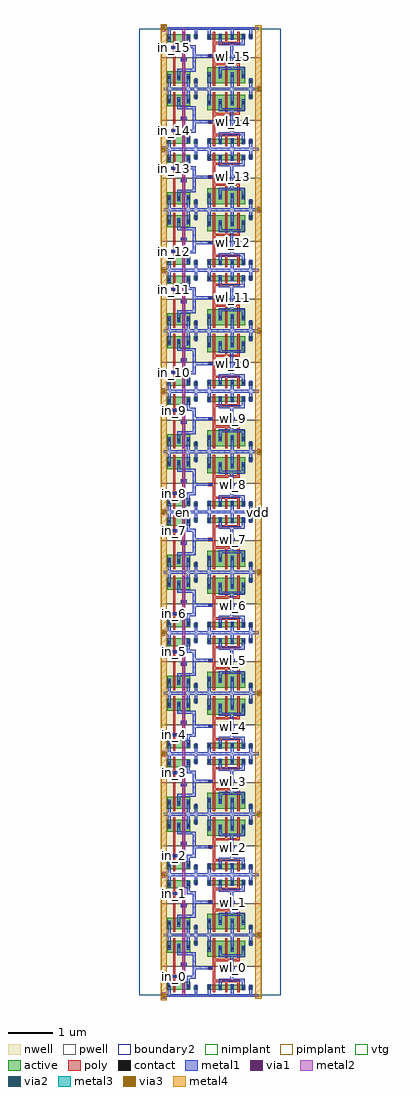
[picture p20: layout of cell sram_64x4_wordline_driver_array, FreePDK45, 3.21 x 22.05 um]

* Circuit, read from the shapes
.subckt sram_64x4_wordline_driver_array en gnd in_0 in_1 in_10 in_11 in_12 in_13 in_14 in_15 in_2 in_3 in_4 in_5 in_6 in_7 in_8 in_9 vdd wl_0 wl_1 wl_10 wl_11 wl_12 wl_13 wl_14 wl_15 wl_2 wl_3 wl_4 wl_5 wl_6 wl_7 wl_8 wl_9
M1 sram_64x4_wordline_driver_0/sram_64x4_pnand2_0/sram_64x4_nmos_m1_w0_180_sm1_dactive_2/D in_0 gnd gnd nfet w=0.18u l=0.05u
M2 sram_64x4_wordline_driver_1/sram_64x4_pnand2_0/sram_64x4_nmos_m1_w0_180_sm1_dactive_2/D in_1 gnd gnd nfet w=0.18u l=0.05u
M3 sram_64x4_wordline_driver_2/sram_64x4_pnand2_0/sram_64x4_nmos_m1_w0_180_sm1_dactive_2/D in_2 gnd gnd nfet w=0.18u l=0.05u
M4 sram_64x4_wordline_driver_3/sram_64x4_pnand2_0/sram_64x4_nmos_m1_w0_180_sm1_dactive_2/D in_3 gnd gnd nfet w=0.18u l=0.05u
M5 sram_64x4_wordline_driver_4/sram_64x4_pnand2_0/sram_64x4_nmos_m1_w0_180_sm1_dactive_2/D in_4 gnd gnd nfet w=0.18u l=0.05u
M6 sram_64x4_wordline_driver_5/sram_64x4_pnand2_0/sram_64x4_nmos_m1_w0_180_sm1_dactive_2/D in_5 gnd gnd nfet w=0.18u l=0.05u
M7 sram_64x4_wordline_driver_6/sram_64x4_pnand2_0/sram_64x4_nmos_m1_w0_180_sm1_dactive_2/D in_6 gnd gnd nfet w=0.18u l=0.05u
M8 sram_64x4_wordline_driver_7/sram_64x4_pnand2_0/sram_64x4_nmos_m1_w0_180_sm1_dactive_2/D in_7 gnd gnd nfet w=0.18u l=0.05u
M9 sram_64x4_wordline_driver_8/sram_64x4_pnand2_0/sram_64x4_nmos_m1_w0_180_sm1_dactive_2/D in_8 gnd gnd nfet w=0.18u l=0.05u
M10 sram_64x4_wordline_driver_9/sram_64x4_pnand2_0/sram_64x4_nmos_m1_w0_180_sm1_dactive_2/D in_9 gnd gnd nfet w=0.18u l=0.05u
M11 sram_64x4_wordline_driver_10/sram_64x4_pnand2_0/sram_64x4_nmos_m1_w0_180_sm1_dactive_2/D in_10 gnd gnd nfet w=0.18u l=0.05u
M12 sram_64x4_wordline_driver_11/sram_64x4_pnand2_0/sram_64x4_nmos_m1_w0_180_sm1_dactive_2/D in_11 gnd gnd nfet w=0.18u l=0.05u
M13 sram_64x4_wordline_driver_12/sram_64x4_pnand2_0/sram_64x4_nmos_m1_w0_180_sm1_dactive_2/D in_12 gnd gnd nfet w=0.18u l=0.05u
M14 sram_64x4_wordline_driver_13/sram_64x4_pnand2_0/sram_64x4_nmos_m1_w0_180_sm1_dactive_2/D in_13 gnd gnd nfet w=0.18u l=0.05u
M15 sram_64x4_wordline_driver_14/sram_64x4_pnand2_0/sram_64x4_nmos_m1_w0_180_sm1_dactive_2/D in_14 gnd gnd nfet w=0.18u l=0.05u
M16 sram_64x4_wordline_driver_15/sram_64x4_pnand2_0/sram_64x4_nmos_m1_w0_180_sm1_dactive_2/D in_15 gnd gnd nfet w=0.18u l=0.05u
M17 sram_64x4_wordline_driver_0/sram_64x4_pinv_0_1/A en sram_64x4_wordline_driver_0/sram_64x4_pnand2_0/sram_64x4_nmos_m1_w0_180_sm1_dactive_2/D gnd nfet w=0.18u l=0.05u
M18 sram_64x4_wordline_driver_1/sram_64x4_pinv_0_1/A en sram_64x4_wordline_driver_1/sram_64x4_pnand2_0/sram_64x4_nmos_m1_w0_180_sm1_dactive_2/D gnd nfet w=0.18u l=0.05u
M19 sram_64x4_wordline_driver_2/sram_64x4_pinv_0_1/A en sram_64x4_wordline_driver_2/sram_64x4_pnand2_0/sram_64x4_nmos_m1_w0_180_sm1_dactive_2/D gnd nfet w=0.18u l=0.05u
M20 sram_64x4_wordline_driver_3/sram_64x4_pinv_0_1/A en sram_64x4_wordline_driver_3/sram_64x4_pnand2_0/sram_64x4_nmos_m1_w0_180_sm1_dactive_2/D gnd nfet w=0.18u l=0.05u
M21 sram_64x4_wordline_driver_4/sram_64x4_pinv_0_1/A en sram_64x4_wordline_driver_4/sram_64x4_pnand2_0/sram_64x4_nmos_m1_w0_180_sm1_dactive_2/D gnd nfet w=0.18u l=0.05u
M22 sram_64x4_wordline_driver_5/sram_64x4_pinv_0_1/A en sram_64x4_wordline_driver_5/sram_64x4_pnand2_0/sram_64x4_nmos_m1_w0_180_sm1_dactive_2/D gnd nfet w=0.18u l=0.05u
M23 sram_64x4_wordline_driver_6/sram_64x4_pinv_0_1/A en sram_64x4_wordline_driver_6/sram_64x4_pnand2_0/sram_64x4_nmos_m1_w0_180_sm1_dactive_2/D gnd nfet w=0.18u l=0.05u
M24 sram_64x4_wordline_driver_7/sram_64x4_pinv_0_1/A en sram_64x4_wordline_driver_7/sram_64x4_pnand2_0/sram_64x4_nmos_m1_w0_180_sm1_dactive_2/D gnd nfet w=0.18u l=0.05u
M25 sram_64x4_wordline_driver_8/sram_64x4_pinv_0_1/A en sram_64x4_wordline_driver_8/sram_64x4_pnand2_0/sram_64x4_nmos_m1_w0_180_sm1_dactive_2/D gnd nfet w=0.18u l=0.05u
M26 sram_64x4_wordline_driver_9/sram_64x4_pinv_0_1/A en sram_64x4_wordline_driver_9/sram_64x4_pnand2_0/sram_64x4_nmos_m1_w0_180_sm1_dactive_2/D gnd nfet w=0.18u l=0.05u
M27 sram_64x4_wordline_driver_10/sram_64x4_pinv_0_1/A en sram_64x4_wordline_driver_10/sram_64x4_pnand2_0/sram_64x4_nmos_m1_w0_180_sm1_dactive_2/D gnd nfet w=0.18u l=0.05u
M28 sram_64x4_wordline_driver_11/sram_64x4_pinv_0_1/A en sram_64x4_wordline_driver_11/sram_64x4_pnand2_0/sram_64x4_nmos_m1_w0_180_sm1_dactive_2/D gnd nfet w=0.18u l=0.05u
M29 sram_64x4_wordline_driver_12/sram_64x4_pinv_0_1/A en sram_64x4_wordline_driver_12/sram_64x4_pnand2_0/sram_64x4_nmos_m1_w0_180_sm1_dactive_2/D gnd nfet w=0.18u l=0.05u
M30 sram_64x4_wordline_driver_13/sram_64x4_pinv_0_1/A en sram_64x4_wordline_driver_13/sram_64x4_pnand2_0/sram_64x4_nmos_m1_w0_180_sm1_dactive_2/D gnd nfet w=0.18u l=0.05u
M31 sram_64x4_wordline_driver_14/sram_64x4_pinv_0_1/A en sram_64x4_wordline_driver_14/sram_64x4_pnand2_0/sram_64x4_nmos_m1_w0_180_sm1_dactive_2/D gnd nfet w=0.18u l=0.05u
M32 sram_64x4_wordline_driver_15/sram_64x4_pinv_0_1/A en sram_64x4_wordline_driver_15/sram_64x4_pnand2_0/sram_64x4_nmos_m1_w0_180_sm1_dactive_2/D gnd nfet w=0.18u l=0.05u
M33 wl_0 sram_64x4_wordline_driver_0/sram_64x4_pinv_0_1/A gnd gnd nfet w=0.12u l=0.05u m=3
M34 wl_1 sram_64x4_wordline_driver_1/sram_64x4_pinv_0_1/A gnd gnd nfet w=0.12u l=0.05u m=3
M35 wl_2 sram_64x4_wordline_driver_2/sram_64x4_pinv_0_1/A gnd gnd nfet w=0.12u l=0.05u m=3
M36 wl_3 sram_64x4_wordline_driver_3/sram_64x4_pinv_0_1/A gnd gnd nfet w=0.12u l=0.05u m=3
M37 wl_4 sram_64x4_wordline_driver_4/sram_64x4_pinv_0_1/A gnd gnd nfet w=0.12u l=0.05u m=3
M38 wl_5 sram_64x4_wordline_driver_5/sram_64x4_pinv_0_1/A gnd gnd nfet w=0.12u l=0.05u m=3
M39 wl_6 sram_64x4_wordline_driver_6/sram_64x4_pinv_0_1/A gnd gnd nfet w=0.12u l=0.05u m=3
M40 wl_7 sram_64x4_wordline_driver_7/sram_64x4_pinv_0_1/A gnd gnd nfet w=0.12u l=0.05u m=3
M41 wl_8 sram_64x4_wordline_driver_8/sram_64x4_pinv_0_1/A gnd gnd nfet w=0.12u l=0.05u m=3
M42 wl_9 sram_64x4_wordline_driver_9/sram_64x4_pinv_0_1/A gnd gnd nfet w=0.12u l=0.05u m=3
M43 wl_10 sram_64x4_wordline_driver_10/sram_64x4_pinv_0_1/A gnd gnd nfet w=0.12u l=0.05u m=3
M44 wl_11 sram_64x4_wordline_driver_11/sram_64x4_pinv_0_1/A gnd gnd nfet w=0.12u l=0.05u m=3
M45 wl_12 sram_64x4_wordline_driver_12/sram_64x4_pinv_0_1/A gnd gnd nfet w=0.12u l=0.05u m=3
M46 wl_13 sram_64x4_wordline_driver_13/sram_64x4_pinv_0_1/A gnd gnd nfet w=0.12u l=0.05u m=3
M47 wl_14 sram_64x4_wordline_driver_14/sram_64x4_pinv_0_1/A gnd gnd nfet w=0.12u l=0.05u m=3
M48 wl_15 sram_64x4_wordline_driver_15/sram_64x4_pinv_0_1/A gnd gnd nfet w=0.12u l=0.05u m=3
M49 sram_64x4_wordline_driver_0/sram_64x4_pinv_0_1/A in_0 vdd vdd pfet w=0.27u l=0.05u
M50 sram_64x4_wordline_driver_1/sram_64x4_pinv_0_1/A in_1 vdd vdd pfet w=0.27u l=0.05u
M51 sram_64x4_wordline_driver_2/sram_64x4_pinv_0_1/A in_2 vdd vdd pfet w=0.27u l=0.05u
M52 sram_64x4_wordline_driver_3/sram_64x4_pinv_0_1/A in_3 vdd vdd pfet w=0.27u l=0.05u
M53 sram_64x4_wordline_driver_4/sram_64x4_pinv_0_1/A in_4 vdd vdd pfet w=0.27u l=0.05u
M54 sram_64x4_wordline_driver_5/sram_64x4_pinv_0_1/A in_5 vdd vdd pfet w=0.27u l=0.05u
M55 sram_64x4_wordline_driver_6/sram_64x4_pinv_0_1/A in_6 vdd vdd pfet w=0.27u l=0.05u
M56 sram_64x4_wordline_driver_7/sram_64x4_pinv_0_1/A in_7 vdd vdd pfet w=0.27u l=0.05u
M57 sram_64x4_wordline_driver_8/sram_64x4_pinv_0_1/A in_8 vdd vdd pfet w=0.27u l=0.05u
M58 sram_64x4_wordline_driver_9/sram_64x4_pinv_0_1/A in_9 vdd vdd pfet w=0.27u l=0.05u
M59 sram_64x4_wordline_driver_10/sram_64x4_pinv_0_1/A in_10 vdd vdd pfet w=0.27u l=0.05u
M60 sram_64x4_wordline_driver_11/sram_64x4_pinv_0_1/A in_11 vdd vdd pfet w=0.27u l=0.05u
M61 sram_64x4_wordline_driver_12/sram_64x4_pinv_0_1/A in_12 vdd vdd pfet w=0.27u l=0.05u
M62 sram_64x4_wordline_driver_13/sram_64x4_pinv_0_1/A in_13 vdd vdd pfet w=0.27u l=0.05u
M63 sram_64x4_wordline_driver_14/sram_64x4_pinv_0_1/A in_14 vdd vdd pfet w=0.27u l=0.05u
M64 sram_64x4_wordline_driver_15/sram_64x4_pinv_0_1/A in_15 vdd vdd pfet w=0.27u l=0.05u
M65 vdd en sram_64x4_wordline_driver_0/sram_64x4_pinv_0_1/A vdd pfet w=0.27u l=0.05u
M66 vdd en sram_64x4_wordline_driver_1/sram_64x4_pinv_0_1/A vdd pfet w=0.27u l=0.05u
M67 vdd en sram_64x4_wordline_driver_2/sram_64x4_pinv_0_1/A vdd pfet w=0.27u l=0.05u
M68 vdd en sram_64x4_wordline_driver_3/sram_64x4_pinv_0_1/A vdd pfet w=0.27u l=0.05u
M69 vdd en sram_64x4_wordline_driver_4/sram_64x4_pinv_0_1/A vdd pfet w=0.27u l=0.05u
M70 vdd en sram_64x4_wordline_driver_5/sram_64x4_pinv_0_1/A vdd pfet w=0.27u l=0.05u
M71 vdd en sram_64x4_wordline_driver_6/sram_64x4_pinv_0_1/A vdd pfet w=0.27u l=0.05u
M72 vdd en sram_64x4_wordline_driver_7/sram_64x4_pinv_0_1/A vdd pfet w=0.27u l=0.05u
M73 vdd en sram_64x4_wordline_driver_8/sram_64x4_pinv_0_1/A vdd pfet w=0.27u l=0.05u
M74 vdd en sram_64x4_wordline_driver_9/sram_64x4_pinv_0_1/A vdd pfet w=0.27u l=0.05u
M75 vdd en sram_64x4_wordline_driver_10/sram_64x4_pinv_0_1/A vdd pfet w=0.27u l=0.05u
M76 vdd en sram_64x4_wordline_driver_11/sram_64x4_pinv_0_1/A vdd pfet w=0.27u l=0.05u
M77 vdd en sram_64x4_wordline_driver_12/sram_64x4_pinv_0_1/A vdd pfet w=0.27u l=0.05u
M78 vdd en sram_64x4_wordline_driver_13/sram_64x4_pinv_0_1/A vdd pfet w=0.27u l=0.05u
M79 vdd en sram_64x4_wordline_driver_14/sram_64x4_pinv_0_1/A vdd pfet w=0.27u l=0.05u
M80 vdd en sram_64x4_wordline_driver_15/sram_64x4_pinv_0_1/A vdd pfet w=0.27u l=0.05u
M81 wl_0 sram_64x4_wordline_driver_0/sram_64x4_pinv_0_1/A vdd vdd pfet w=0.36u l=0.05u m=3
M82 wl_1 sram_64x4_wordline_driver_1/sram_64x4_pinv_0_1/A vdd vdd pfet w=0.36u l=0.05u m=3
M83 wl_2 sram_64x4_wordline_driver_2/sram_64x4_pinv_0_1/A vdd vdd pfet w=0.36u l=0.05u m=3
M84 wl_3 sram_64x4_wordline_driver_3/sram_64x4_pinv_0_1/A vdd vdd pfet w=0.36u l=0.05u m=3
M85 wl_4 sram_64x4_wordline_driver_4/sram_64x4_pinv_0_1/A vdd vdd pfet w=0.36u l=0.05u m=3
M86 wl_5 sram_64x4_wordline_driver_5/sram_64x4_pinv_0_1/A vdd vdd pfet w=0.36u l=0.05u m=3
M87 wl_6 sram_64x4_wordline_driver_6/sram_64x4_pinv_0_1/A vdd vdd pfet w=0.36u l=0.05u m=3
M88 wl_7 sram_64x4_wordline_driver_7/sram_64x4_pinv_0_1/A vdd vdd pfet w=0.36u l=0.05u m=3
M89 wl_8 sram_64x4_wordline_driver_8/sram_64x4_pinv_0_1/A vdd vdd pfet w=0.36u l=0.05u m=3
M90 wl_9 sram_64x4_wordline_driver_9/sram_64x4_pinv_0_1/A vdd vdd pfet w=0.36u l=0.05u m=3
M91 wl_10 sram_64x4_wordline_driver_10/sram_64x4_pinv_0_1/A vdd vdd pfet w=0.36u l=0.05u m=3
M92 wl_11 sram_64x4_wordline_driver_11/sram_64x4_pinv_0_1/A vdd vdd pfet w=0.36u l=0.05u m=3
M93 wl_12 sram_64x4_wordline_driver_12/sram_64x4_pinv_0_1/A vdd vdd pfet w=0.36u l=0.05u m=3
M94 wl_13 sram_64x4_wordline_driver_13/sram_64x4_pinv_0_1/A vdd vdd pfet w=0.36u l=0.05u m=3
M95 wl_14 sram_64x4_wordline_driver_14/sram_64x4_pinv_0_1/A vdd vdd pfet w=0.36u l=0.05u m=3
M96 wl_15 sram_64x4_wordline_driver_15/sram_64x4_pinv_0_1/A vdd vdd pfet w=0.36u l=0.05u m=3
.ends

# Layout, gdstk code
import gdstk
lib = gdstk.Library(unit=1e-6, precision=5e-10)
def R(c, l, rs):  # rectangles x0, y0, x1, y1
    for r in rs: c.add(gdstk.rectangle(r[:2], r[2:], *l))
def A(c, l, x, y, w, h, nx, ny, dx, dy):  # array of equal rectangles
    R(c, l, [(x+i*dx, y+j*dy, x+i*dx+w, y+j*dy+h) for i in range(nx) for j in range(ny)])
active = (1, 0)
pwell = (2, 0)
nwell = (3, 0)
nimplant = (4, 0)
pimplant = (5, 0)
vtg = (6, 0)
poly = (9, 0)
contact = (10, 0)
metal1 = (11, 0)
via1 = (12, 0)
metal2 = (13, 0)
via2 = (14, 0)
metal3 = (15, 0)
via3 = (16, 0)
metal4 = (17, 0)
boundary2 = (239, 0)

sram_64x4_contact_11 = lib.new_cell('sram_64x4_contact_11')
R(sram_64x4_contact_11, active, [(0,0.0225,0.09,0.1125)])
R(sram_64x4_contact_11, nwell, [(-0.055,-0.0325,0.145,0.1675)])
R(sram_64x4_contact_11, pimplant, [(0,0.0225,0.09,0.1125)])
R(sram_64x4_contact_11, contact, [(0.0125,0.035,0.0775,0.1)])
R(sram_64x4_contact_11, metal1, [(0.0125,0,0.0775,0.135)])
R(sram_64x4_contact_11, boundary2, [(-0.055,-0.0325,0.145,0.1675)])

sram_64x4_pmos_m1_w0_270 = lib.new_cell('sram_64x4_pmos_m1_w0_270_sm1_dm1')
R(sram_64x4_pmos_m1_w0_270, active, [(0,0,0.305,0.27)])
R(sram_64x4_pmos_m1_w0_270, nwell, [(-0.08,-0.08,0.385,0.35)])
R(sram_64x4_pmos_m1_w0_270, pimplant, [(0,0,0.305,0.27)])
R(sram_64x4_pmos_m1_w0_270, vtg, [(-0.08,-0.08,0.385,0.35)])
R(sram_64x4_pmos_m1_w0_270, poly, [(0.1275,-0.055,0.1775,0.325), (0.1275,-0.055,0.1775,0.325)])
R(sram_64x4_pmos_m1_w0_270, metal1, [(0.0125,0.0675,0.0775,0.2025), (0.2275,0.0675,0.2925,0.2025)])
R(sram_64x4_pmos_m1_w0_270, boundary2, [(-0.08,-0.08,0.385,0.35)])
sram_64x4_pmos_m1_w0_270.add(gdstk.Reference(sram_64x4_contact_11, (0,0.0675)))
sram_64x4_pmos_m1_w0_270.add(gdstk.Reference(sram_64x4_contact_11, (0.215,0.0675)))
sram_64x4_pmos_m1_w0_270.add(gdstk.Label('G', (0.1525,0.135), layer=9, texttype=0))
sram_64x4_pmos_m1_w0_270.add(gdstk.Label('S', (0.045,0.135), layer=11, texttype=0))
sram_64x4_pmos_m1_w0_270.add(gdstk.Label('D', (0.26,0.135), layer=11, texttype=0))

sram_64x4_contact_10 = lib.new_cell('sram_64x4_contact_10')
R(sram_64x4_contact_10, active, [(0,0.0225,0.09,0.1125)])
R(sram_64x4_contact_10, pwell, [(-0.055,-0.0325,0.145,0.1675)])
R(sram_64x4_contact_10, nimplant, [(0,0.0225,0.09,0.1125)])
R(sram_64x4_contact_10, contact, [(0.0125,0.035,0.0775,0.1)])
R(sram_64x4_contact_10, metal1, [(0.0125,0,0.0775,0.135)])
R(sram_64x4_contact_10, boundary2, [(-0.055,-0.0325,0.145,0.1675)])

sram_64x4_nmos_m1_w0_180 = lib.new_cell('sram_64x4_nmos_m1_w0_180_sm1_dactive')
R(sram_64x4_nmos_m1_w0_180, active, [(0,0,0.305,0.18), (0.215,0.045,0.305,0.135)])
R(sram_64x4_nmos_m1_w0_180, pwell, [(-0.08,-0.08,0.385,0.26)])
R(sram_64x4_nmos_m1_w0_180, nimplant, [(0,0,0.305,0.18)])
R(sram_64x4_nmos_m1_w0_180, vtg, [(-0.08,-0.08,0.385,0.26)])
R(sram_64x4_nmos_m1_w0_180, poly, [(0.1275,-0.055,0.1775,0.235), (0.1275,-0.055,0.1775,0.235)])
R(sram_64x4_nmos_m1_w0_180, metal1, [(0.0125,0.0225,0.0775,0.1575)])
R(sram_64x4_nmos_m1_w0_180, boundary2, [(-0.08,-0.08,0.385,0.26)])
sram_64x4_nmos_m1_w0_180.add(gdstk.Reference(sram_64x4_contact_10, (0,0.0225)))
sram_64x4_nmos_m1_w0_180.add(gdstk.Label('G', (0.1525,0.09), layer=9, texttype=0))
sram_64x4_nmos_m1_w0_180.add(gdstk.Label('S', (0.045,0.09), layer=11, texttype=0))
sram_64x4_nmos_m1_w0_180.add(gdstk.Label('D', (0.26,0.09), layer=1, texttype=0))

c_sram_64x4_nmos_m1_w0_180 = lib.new_cell('sram_64x4_nmos_m1_w0_180_sactive_dm1')
R(c_sram_64x4_nmos_m1_w0_180, active, [(0,0,0.305,0.18), (0,0.045,0.09,0.135)])
R(c_sram_64x4_nmos_m1_w0_180, pwell, [(-0.08,-0.08,0.385,0.26)])
R(c_sram_64x4_nmos_m1_w0_180, nimplant, [(0,0,0.305,0.18)])
R(c_sram_64x4_nmos_m1_w0_180, vtg, [(-0.08,-0.08,0.385,0.26)])
R(c_sram_64x4_nmos_m1_w0_180, poly, [(0.1275,-0.055,0.1775,0.235), (0.1275,-0.055,0.1775,0.235)])
R(c_sram_64x4_nmos_m1_w0_180, metal1, [(0.2275,0.0225,0.2925,0.1575)])
R(c_sram_64x4_nmos_m1_w0_180, boundary2, [(-0.08,-0.08,0.385,0.26)])
c_sram_64x4_nmos_m1_w0_180.add(gdstk.Reference(sram_64x4_contact_10, (0.215,0.0225)))
c_sram_64x4_nmos_m1_w0_180.add(gdstk.Label('G', (0.1525,0.09), layer=9, texttype=0))
c_sram_64x4_nmos_m1_w0_180.add(gdstk.Label('S', (0.045,0.09), layer=1, texttype=0))
c_sram_64x4_nmos_m1_w0_180.add(gdstk.Label('D', (0.26,0.09), layer=11, texttype=0))

sram_64x4_contact_12 = lib.new_cell('sram_64x4_contact_12')
R(sram_64x4_contact_12, active, [(0,0.0225,0.09,0.1125)])
R(sram_64x4_contact_12, nwell, [(-0.055,-0.0325,0.145,0.1675)])
R(sram_64x4_contact_12, nimplant, [(0,0.0225,0.09,0.1125)])
R(sram_64x4_contact_12, contact, [(0.0125,0.035,0.0775,0.1)])
R(sram_64x4_contact_12, metal1, [(0.0125,0,0.0775,0.135)])
R(sram_64x4_contact_12, boundary2, [(-0.055,-0.0325,0.145,0.1675)])

sram_64x4_contact_13 = lib.new_cell('sram_64x4_contact_13')
R(sram_64x4_contact_13, active, [(0,0.0225,0.09,0.1125)])
R(sram_64x4_contact_13, pwell, [(-0.055,-0.0325,0.145,0.1675)])
R(sram_64x4_contact_13, pimplant, [(0,0.0225,0.09,0.1125)])
R(sram_64x4_contact_13, contact, [(0.0125,0.035,0.0775,0.1)])
R(sram_64x4_contact_13, metal1, [(0.0125,0,0.0775,0.135)])
R(sram_64x4_contact_13, boundary2, [(-0.055,-0.0325,0.145,0.1675)])

sram_64x4_contact_14 = lib.new_cell('sram_64x4_contact_14')
R(sram_64x4_contact_14, poly, [(0.03,0,0.105,0.075)])
R(sram_64x4_contact_14, contact, [(0.035,0.005,0.1,0.07)])
R(sram_64x4_contact_14, metal1, [(0,0.005,0.135,0.07)])
R(sram_64x4_contact_14, boundary2, [(0,0,0.135,0.075)])

sram_64x4_pnand2 = lib.new_cell('sram_64x4_pnand2')
R(sram_64x4_pnand2, pwell, [(-0.055,-0.0325,0.9575,0.655)])
R(sram_64x4_pnand2, nwell, [(-0.055,0.655,0.9575,1.4)])
R(sram_64x4_pnand2, vtg, [(-0.055,-0.0325,0.9575,0.655), (-0.055,0.655,0.9575,1.4)])
R(sram_64x4_pnand2, poly, [(0.2075,0.36,0.2575,0.915), (0.4225,0.36,0.4725,0.915), (0.2075,0.39,0.2325,0.465), (0.4225,0.67,0.4475,0.745)])
R(sram_64x4_pnand2, metal1, [(0,-0.0325,0.9025,0.0325), (0.0925,-0.0325,0.1575,0.1475), (0.6925,0,0.7575,0.17), (0.5225,0.2825,0.5875,0.4125), (0.5225,0.38,0.5875,0.445), (0.555,0.38,0.685,0.445), (0.6525,0.38,0.7175,0.445), (0.165,0.395,0.3,0.46), (0.6525,0.4125,0.7175,0.94), (0.38,0.675,0.515,0.74), (0.3075,0.9075,0.3725,0.9725), (0.34,0.9075,0.685,0.9725), (0.6525,0.9075,0.7175,0.9725), (0.3075,0.94,0.3725,1.0375), (0.0925,1.0375,0.1575,1.3975), (0.5225,1.0375,0.5875,1.3975), (0.6925,1.195,0.7575,1.365), (0,1.3325,0.9025,1.3975)])
R(sram_64x4_pnand2, boundary2, [(0,0,0.9025,1.365), (0,0,0.9025,1.365)])
sram_64x4_pnand2.add(gdstk.Reference(sram_64x4_pmos_m1_w0_270, (0.08,0.97)))
sram_64x4_pnand2.add(gdstk.Reference(sram_64x4_pmos_m1_w0_270, (0.295,0.97)))
sram_64x4_pnand2.add(gdstk.Reference(sram_64x4_nmos_m1_w0_180, (0.08,0.125)))
sram_64x4_pnand2.add(gdstk.Reference(c_sram_64x4_nmos_m1_w0_180, (0.295,0.125)))
sram_64x4_pnand2.add(gdstk.Reference(sram_64x4_contact_12, (0.68,1.1275)))
sram_64x4_pnand2.add(gdstk.Reference(sram_64x4_contact_13, (0.68,0.1025)))
sram_64x4_pnand2.add(gdstk.Reference(sram_64x4_contact_14, (0.165,0.39)))
sram_64x4_pnand2.add(gdstk.Reference(sram_64x4_contact_14, (0.38,0.67)))
sram_64x4_pnand2.add(gdstk.Label('Z', (0.685,0.94), layer=11, texttype=0))
sram_64x4_pnand2.add(gdstk.Label('gnd', (0.451,0), layer=11, texttype=0))
sram_64x4_pnand2.add(gdstk.Label('vdd', (0.451,1.365), layer=11, texttype=0))
sram_64x4_pnand2.add(gdstk.Label('A', (0.2325,0.4275), layer=11, texttype=0))
sram_64x4_pnand2.add(gdstk.Label('B', (0.4475,0.7075), layer=11, texttype=0))

sram_64x4_pmos_m3_w0_360 = lib.new_cell('sram_64x4_pmos_m3_w0_360_sm1_dm1_da_p')
R(sram_64x4_pmos_m3_w0_360, active, [(0,0,0.855,0.36)])
R(sram_64x4_pmos_m3_w0_360, nwell, [(-0.08,-0.08,0.935,0.44)])
R(sram_64x4_pmos_m3_w0_360, pimplant, [(0,0,0.855,0.36)])
R(sram_64x4_pmos_m3_w0_360, vtg, [(-0.08,-0.08,0.935,0.44)])
A(sram_64x4_pmos_m3_w0_360, poly, 0.1275, -0.055, 0.05, 0.47, 3, 1, 0.275, 0)
R(sram_64x4_pmos_m3_w0_360, poly, [(0.1275,-0.105,0.7275,-0.055)])
R(sram_64x4_pmos_m3_w0_360, metal1, [(0.2575,-0.0175,0.8425,0.0475), (0.2575,0.015,0.3225,0.18), (0.7775,0.015,0.8425,0.18), (0.0125,0.1125,0.0775,0.2475), (0.5325,0.1125,0.5975,0.2475)])
R(sram_64x4_pmos_m3_w0_360, boundary2, [(-0.08,-0.105,0.935,0.44)])
sram_64x4_pmos_m3_w0_360.add(gdstk.Reference(sram_64x4_contact_11, (0,0.1125)))
sram_64x4_pmos_m3_w0_360.add(gdstk.Reference(sram_64x4_contact_11, (0.245,0.1125)))
sram_64x4_pmos_m3_w0_360.add(gdstk.Reference(sram_64x4_contact_11, (0.52,0.1125)))
sram_64x4_pmos_m3_w0_360.add(gdstk.Reference(sram_64x4_contact_11, (0.765,0.1125)))
sram_64x4_pmos_m3_w0_360.add(gdstk.Label('G', (0.4275,-0.08), layer=9, texttype=0))
sram_64x4_pmos_m3_w0_360.add(gdstk.Label('S', (0.045,0.18), layer=11, texttype=0))
sram_64x4_pmos_m3_w0_360.add(gdstk.Label('S', (0.565,0.18), layer=11, texttype=0))
sram_64x4_pmos_m3_w0_360.add(gdstk.Label('D', (0.55,0.015), layer=11, texttype=0))

sram_64x4_nmos_m3_w0_120 = lib.new_cell('sram_64x4_nmos_m3_w0_120_sm1_dm1_da_p')
R(sram_64x4_nmos_m3_w0_120, active, [(0,0,0.855,0.12)])
R(sram_64x4_nmos_m3_w0_120, pwell, [(-0.08,-0.08,0.935,0.2)])
R(sram_64x4_nmos_m3_w0_120, nimplant, [(0,0,0.855,0.12)])
R(sram_64x4_nmos_m3_w0_120, vtg, [(-0.08,-0.08,0.935,0.2)])
A(sram_64x4_nmos_m3_w0_120, poly, 0.1275, -0.055, 0.05, 0.23, 3, 1, 0.275, 0)
R(sram_64x4_nmos_m3_w0_120, poly, [(0.1275,0.175,0.7275,0.225)])
R(sram_64x4_nmos_m3_w0_120, metal1, [(0.0125,-0.0075,0.0775,0.1275), (0.5325,-0.0075,0.5975,0.1275), (0.2575,0.06,0.3225,0.225), (0.7775,0.06,0.8425,0.225), (0.2575,0.1925,0.8425,0.2575)])
R(sram_64x4_nmos_m3_w0_120, boundary2, [(-0.08,-0.08,0.935,0.2575)])
sram_64x4_nmos_m3_w0_120.add(gdstk.Reference(sram_64x4_contact_10, (0,-0.0075)))
sram_64x4_nmos_m3_w0_120.add(gdstk.Reference(sram_64x4_contact_10, (0.245,-0.0075)))
sram_64x4_nmos_m3_w0_120.add(gdstk.Reference(sram_64x4_contact_10, (0.52,-0.0075)))
sram_64x4_nmos_m3_w0_120.add(gdstk.Reference(sram_64x4_contact_10, (0.765,-0.0075)))
sram_64x4_nmos_m3_w0_120.add(gdstk.Label('G', (0.4275,0.2), layer=9, texttype=0))
sram_64x4_nmos_m3_w0_120.add(gdstk.Label('S', (0.045,0.06), layer=11, texttype=0))
sram_64x4_nmos_m3_w0_120.add(gdstk.Label('S', (0.565,0.06), layer=11, texttype=0))
sram_64x4_nmos_m3_w0_120.add(gdstk.Label('D', (0.55,0.225), layer=11, texttype=0))

sram_64x4_pinv_0 = lib.new_cell('sram_64x4_pinv_0')
R(sram_64x4_pinv_0, pwell, [(-0.055,-0.0325,1.2925,0.655)])
R(sram_64x4_pinv_0, nwell, [(-0.055,0.655,1.2925,1.4)])
R(sram_64x4_pinv_0, vtg, [(-0.055,-0.0325,1.2925,0.655), (-0.055,0.655,1.2925,1.4)])
R(sram_64x4_pinv_0, poly, [(0.2075,0.35,0.2575,0.775), (0.14,0.585,0.2075,0.66)])
R(sram_64x4_pinv_0, metal1, [(0,-0.0325,1.2375,0.0325), (0.0925,-0.0325,0.1575,0.1175), (0.6125,-0.0325,0.6775,0.1175), (1.0275,0,1.0925,0.17), (0.5975,0.3175,0.6625,0.9275), (0.0725,0.59,0.2075,0.655), (0.63,0.59,0.695,0.655), (0.0925,0.9925,0.1575,1.3975), (0.6125,0.9925,0.6775,1.3975), (1.0275,1.195,1.0925,1.365), (0,1.3325,1.2375,1.3975)])
R(sram_64x4_pinv_0, boundary2, [(0,0,1.2375,1.365), (0,0,1.2375,1.365)])
sram_64x4_pinv_0.add(gdstk.Reference(sram_64x4_pmos_m3_w0_360, (0.08,0.88)))
sram_64x4_pinv_0.add(gdstk.Reference(sram_64x4_nmos_m3_w0_120, (0.08,0.125)))
sram_64x4_pinv_0.add(gdstk.Reference(sram_64x4_contact_12, (1.015,1.1275)))
sram_64x4_pinv_0.add(gdstk.Reference(sram_64x4_contact_13, (1.015,0.1025)))
sram_64x4_pinv_0.add(gdstk.Reference(sram_64x4_contact_14, (0.0725,0.585)))
sram_64x4_pinv_0.add(gdstk.Label('A', (0.14,0.6225), layer=11, texttype=0))
sram_64x4_pinv_0.add(gdstk.Label('Z', (0.6625,0.6225), layer=11, texttype=0))
sram_64x4_pinv_0.add(gdstk.Label('gnd', (0.619,0), layer=11, texttype=0))
sram_64x4_pinv_0.add(gdstk.Label('vdd', (0.619,1.365), layer=11, texttype=0))

sram_64x4_wordline_drive = lib.new_cell('sram_64x4_wordline_driver')
R(sram_64x4_wordline_drive, metal1, [(0,-0.0325,2.14,0.0325), (0.165,0.395,0.3,0.46), (0.6525,0.59,0.7175,0.655), (0.685,0.59,1.0425,0.655), (1.5325,0.59,1.5975,0.655), (0.6525,0.6225,0.7175,0.94), (0.38,0.675,0.515,0.74), (0,1.3325,2.14,1.3975)])
R(sram_64x4_wordline_drive, boundary2, [(0,0,2.14,1.365)])
sram_64x4_wordline_drive.add(gdstk.Reference(sram_64x4_pnand2, (0,0)))
sram_64x4_wordline_drive.add(gdstk.Reference(sram_64x4_pinv_0, (0.9025,0)))
sram_64x4_wordline_drive.add(gdstk.Label('Z', (1.565,0.6225), layer=11, texttype=0))
sram_64x4_wordline_drive.add(gdstk.Label('A', (0.2325,0.4275), layer=11, texttype=0))
sram_64x4_wordline_drive.add(gdstk.Label('B', (0.4475,0.7075), layer=11, texttype=0))
sram_64x4_wordline_drive.add(gdstk.Label('gnd', (1.07,0), layer=11, texttype=0))
sram_64x4_wordline_drive.add(gdstk.Label('vdd', (1.07,1.365), layer=11, texttype=0))

sram_64x4_contact_17 = lib.new_cell('sram_64x4_contact_17')
R(sram_64x4_contact_17, metal1, [(0,0.035,0.135,0.1)])
R(sram_64x4_contact_17, via1, [(0.035,0.035,0.1,0.1)])
R(sram_64x4_contact_17, metal2, [(0.0325,0,0.1025,0.135)])
R(sram_64x4_contact_17, boundary2, [(0,0,0.135,0.135)])

sram_64x4_contact_18 = lib.new_cell('sram_64x4_contact_18')
R(sram_64x4_contact_18, metal2, [(0.0325,0,0.1025,0.135)])
R(sram_64x4_contact_18, via2, [(0.035,0.035,0.1,0.1)])
R(sram_64x4_contact_18, metal3, [(0,0.0325,0.135,0.1025)])
R(sram_64x4_contact_18, boundary2, [(0,0,0.135,0.135)])

sram_64x4_contact_21 = lib.new_cell('sram_64x4_contact_21')
R(sram_64x4_contact_21, metal3, [(0,0.035,0.14,0.105)])
R(sram_64x4_contact_21, via3, [(0.035,0.035,0.105,0.105)])
R(sram_64x4_contact_21, metal4, [(0,0,0.14,0.14)])
R(sram_64x4_contact_21, boundary2, [(0,0,0.14,0.14)])

c_sram_64x4_wordline_drive = lib.new_cell('sram_64x4_wordline_driver_array')
R(c_sram_64x4_wordline_drive, metal1, [(0.725,0.395,0.86,0.46), (2.0925,0.59,2.1575,0.655), (2.0925,2.075,2.1575,2.14), (0.725,2.27,0.86,2.335), (0.725,3.125,0.86,3.19), (2.0925,3.32,2.1575,3.385), (2.0925,4.805,2.1575,4.87), (0.725,5,0.86,5.065), (0.725,5.855,0.86,5.92), (2.0925,6.05,2.1575,6.115), (2.0925,7.535,2.1575,7.6), (0.725,7.73,0.86,7.795), (0.725,8.585,0.86,8.65), (2.0925,8.78,2.1575,8.845), (2.0925,10.265,2.1575,10.33), (0.725,10.46,0.86,10.525), (0.725,11.315,0.86,11.38), (2.0925,11.51,2.1575,11.575), (2.0925,12.995,2.1575,13.06), (0.725,13.19,0.86,13.255), (0.725,14.045,0.86,14.11), (2.0925,14.24,2.1575,14.305), (2.0925,15.725,2.1575,15.79), (0.725,15.92,0.86,15.985), (0.725,16.775,0.86,16.84), (2.0925,16.97,2.1575,17.035), (2.0925,18.455,2.1575,18.52), (0.725,18.65,0.86,18.715), (0.725,19.505,0.86,19.57), (2.0925,19.7,2.1575,19.765), (2.0925,21.185,2.1575,21.25), (0.725,21.38,0.86,21.445)])
R(c_sram_64x4_wordline_drive, metal2, [(0.9725,0,1.0425,21.84)])
R(c_sram_64x4_wordline_drive, metal4, [(0.49,-0.1025,0.63,21.9425), (2.63,-0.07,2.77,21.91)])
R(c_sram_64x4_wordline_drive, boundary2, [(0,0,3.205,21.84)])
c_sram_64x4_wordline_drive.add(gdstk.Reference(sram_64x4_wordline_drive, (0.56,0)))
c_sram_64x4_wordline_drive.add(gdstk.Reference(sram_64x4_wordline_drive, (0.56,2.73), x_reflection=True))
c_sram_64x4_wordline_drive.add(gdstk.Reference(sram_64x4_wordline_drive, (0.56,2.73)))
c_sram_64x4_wordline_drive.add(gdstk.Reference(sram_64x4_wordline_drive, (0.56,5.46), x_reflection=True))
c_sram_64x4_wordline_drive.add(gdstk.Reference(sram_64x4_wordline_drive, (0.56,5.46)))
c_sram_64x4_wordline_drive.add(gdstk.Reference(sram_64x4_wordline_drive, (0.56,8.19), x_reflection=True))
c_sram_64x4_wordline_drive.add(gdstk.Reference(sram_64x4_wordline_drive, (0.56,8.19)))
c_sram_64x4_wordline_drive.add(gdstk.Reference(sram_64x4_wordline_drive, (0.56,10.92), x_reflection=True))
c_sram_64x4_wordline_drive.add(gdstk.Reference(sram_64x4_wordline_drive, (0.56,10.92)))
c_sram_64x4_wordline_drive.add(gdstk.Reference(sram_64x4_wordline_drive, (0.56,13.65), x_reflection=True))
c_sram_64x4_wordline_drive.add(gdstk.Reference(sram_64x4_wordline_drive, (0.56,13.65)))
c_sram_64x4_wordline_drive.add(gdstk.Reference(sram_64x4_wordline_drive, (0.56,16.38), x_reflection=True))
c_sram_64x4_wordline_drive.add(gdstk.Reference(sram_64x4_wordline_drive, (0.56,16.38)))
c_sram_64x4_wordline_drive.add(gdstk.Reference(sram_64x4_wordline_drive, (0.56,19.11), x_reflection=True))
c_sram_64x4_wordline_drive.add(gdstk.Reference(sram_64x4_wordline_drive, (0.56,19.11)))
c_sram_64x4_wordline_drive.add(gdstk.Reference(sram_64x4_wordline_drive, (0.56,21.84), x_reflection=True))
c_sram_64x4_wordline_drive.add(gdstk.Reference(sram_64x4_contact_17, (0.94,0.64)))
c_sram_64x4_wordline_drive.add(gdstk.Reference(sram_64x4_contact_17, (0.94,1.955)))
c_sram_64x4_wordline_drive.add(gdstk.Reference(sram_64x4_contact_17, (0.94,3.37)))
c_sram_64x4_wordline_drive.add(gdstk.Reference(sram_64x4_contact_17, (0.94,4.685)))
c_sram_64x4_wordline_drive.add(gdstk.Reference(sram_64x4_contact_17, (0.94,6.1)))
c_sram_64x4_wordline_drive.add(gdstk.Reference(sram_64x4_contact_17, (0.94,7.415)))
c_sram_64x4_wordline_drive.add(gdstk.Reference(sram_64x4_contact_17, (0.94,8.83)))
c_sram_64x4_wordline_drive.add(gdstk.Reference(sram_64x4_contact_17, (0.94,10.145)))
c_sram_64x4_wordline_drive.add(gdstk.Reference(sram_64x4_contact_17, (0.94,11.56)))
c_sram_64x4_wordline_drive.add(gdstk.Reference(sram_64x4_contact_17, (0.94,12.875)))
c_sram_64x4_wordline_drive.add(gdstk.Reference(sram_64x4_contact_17, (0.94,14.29)))
c_sram_64x4_wordline_drive.add(gdstk.Reference(sram_64x4_contact_17, (0.94,15.605)))
c_sram_64x4_wordline_drive.add(gdstk.Reference(sram_64x4_contact_17, (0.94,17.02)))
c_sram_64x4_wordline_drive.add(gdstk.Reference(sram_64x4_contact_17, (0.94,18.335)))
c_sram_64x4_wordline_drive.add(gdstk.Reference(sram_64x4_contact_17, (0.94,19.75)))
c_sram_64x4_wordline_drive.add(gdstk.Reference(sram_64x4_contact_17, (0.94,21.065)))
c_sram_64x4_wordline_drive.add(gdstk.Reference(sram_64x4_contact_17, (2.6325,1.2975)))
c_sram_64x4_wordline_drive.add(gdstk.Reference(sram_64x4_contact_18, (2.6325,1.2975)))
c_sram_64x4_wordline_drive.add(gdstk.Reference(sram_64x4_contact_21, (2.63,1.295)))
c_sram_64x4_wordline_drive.add(gdstk.Reference(sram_64x4_contact_17, (2.6325,1.2975)))
c_sram_64x4_wordline_drive.add(gdstk.Reference(sram_64x4_contact_18, (2.6325,1.2975)))
c_sram_64x4_wordline_drive.add(gdstk.Reference(sram_64x4_contact_21, (2.63,1.295)))
c_sram_64x4_wordline_drive.add(gdstk.Reference(sram_64x4_contact_17, (2.6325,4.0275)))
c_sram_64x4_wordline_drive.add(gdstk.Reference(sram_64x4_contact_18, (2.6325,4.0275)))
c_sram_64x4_wordline_drive.add(gdstk.Reference(sram_64x4_contact_21, (2.63,4.025)))
c_sram_64x4_wordline_drive.add(gdstk.Reference(sram_64x4_contact_17, (2.6325,4.0275)))
c_sram_64x4_wordline_drive.add(gdstk.Reference(sram_64x4_contact_18, (2.6325,4.0275)))
c_sram_64x4_wordline_drive.add(gdstk.Reference(sram_64x4_contact_21, (2.63,4.025)))
c_sram_64x4_wordline_drive.add(gdstk.Reference(sram_64x4_contact_17, (2.6325,6.7575)))
c_sram_64x4_wordline_drive.add(gdstk.Reference(sram_64x4_contact_18, (2.6325,6.7575)))
c_sram_64x4_wordline_drive.add(gdstk.Reference(sram_64x4_contact_21, (2.63,6.755)))
c_sram_64x4_wordline_drive.add(gdstk.Reference(sram_64x4_contact_17, (2.6325,6.7575)))
c_sram_64x4_wordline_drive.add(gdstk.Reference(sram_64x4_contact_18, (2.6325,6.7575)))
c_sram_64x4_wordline_drive.add(gdstk.Reference(sram_64x4_contact_21, (2.63,6.755)))
c_sram_64x4_wordline_drive.add(gdstk.Reference(sram_64x4_contact_17, (2.6325,9.4875)))
c_sram_64x4_wordline_drive.add(gdstk.Reference(sram_64x4_contact_18, (2.6325,9.4875)))
c_sram_64x4_wordline_drive.add(gdstk.Reference(sram_64x4_contact_21, (2.63,9.485)))
c_sram_64x4_wordline_drive.add(gdstk.Reference(sram_64x4_contact_17, (2.6325,9.4875)))
c_sram_64x4_wordline_drive.add(gdstk.Reference(sram_64x4_contact_18, (2.6325,9.4875)))
c_sram_64x4_wordline_drive.add(gdstk.Reference(sram_64x4_contact_21, (2.63,9.485)))
c_sram_64x4_wordline_drive.add(gdstk.Reference(sram_64x4_contact_17, (2.6325,12.2175)))
c_sram_64x4_wordline_drive.add(gdstk.Reference(sram_64x4_contact_18, (2.6325,12.2175)))
c_sram_64x4_wordline_drive.add(gdstk.Reference(sram_64x4_contact_21, (2.63,12.215)))
c_sram_64x4_wordline_drive.add(gdstk.Reference(sram_64x4_contact_17, (2.6325,12.2175)))
c_sram_64x4_wordline_drive.add(gdstk.Reference(sram_64x4_contact_18, (2.6325,12.2175)))
c_sram_64x4_wordline_drive.add(gdstk.Reference(sram_64x4_contact_21, (2.63,12.215)))
c_sram_64x4_wordline_drive.add(gdstk.Reference(sram_64x4_contact_17, (2.6325,14.9475)))
c_sram_64x4_wordline_drive.add(gdstk.Reference(sram_64x4_contact_18, (2.6325,14.9475)))
c_sram_64x4_wordline_drive.add(gdstk.Reference(sram_64x4_contact_21, (2.63,14.945)))
c_sram_64x4_wordline_drive.add(gdstk.Reference(sram_64x4_contact_17, (2.6325,14.9475)))
c_sram_64x4_wordline_drive.add(gdstk.Reference(sram_64x4_contact_18, (2.6325,14.9475)))
c_sram_64x4_wordline_drive.add(gdstk.Reference(sram_64x4_contact_21, (2.63,14.945)))
c_sram_64x4_wordline_drive.add(gdstk.Reference(sram_64x4_contact_17, (2.6325,17.6775)))
c_sram_64x4_wordline_drive.add(gdstk.Reference(sram_64x4_contact_18, (2.6325,17.6775)))
c_sram_64x4_wordline_drive.add(gdstk.Reference(sram_64x4_contact_21, (2.63,17.675)))
c_sram_64x4_wordline_drive.add(gdstk.Reference(sram_64x4_contact_17, (2.6325,17.6775)))
c_sram_64x4_wordline_drive.add(gdstk.Reference(sram_64x4_contact_18, (2.6325,17.6775)))
c_sram_64x4_wordline_drive.add(gdstk.Reference(sram_64x4_contact_21, (2.63,17.675)))
c_sram_64x4_wordline_drive.add(gdstk.Reference(sram_64x4_contact_17, (2.6325,20.4075)))
c_sram_64x4_wordline_drive.add(gdstk.Reference(sram_64x4_contact_18, (2.6325,20.4075)))
c_sram_64x4_wordline_drive.add(gdstk.Reference(sram_64x4_contact_21, (2.63,20.405)))
c_sram_64x4_wordline_drive.add(gdstk.Reference(sram_64x4_contact_17, (2.6325,20.4075)))
c_sram_64x4_wordline_drive.add(gdstk.Reference(sram_64x4_contact_18, (2.6325,20.4075)))
c_sram_64x4_wordline_drive.add(gdstk.Reference(sram_64x4_contact_21, (2.63,20.405)))
c_sram_64x4_wordline_drive.add(gdstk.Reference(sram_64x4_contact_17, (0.4925,-0.0675)))
c_sram_64x4_wordline_drive.add(gdstk.Reference(sram_64x4_contact_18, (0.4925,-0.0675)))
c_sram_64x4_wordline_drive.add(gdstk.Reference(sram_64x4_contact_21, (0.49,-0.07)))
c_sram_64x4_wordline_drive.add(gdstk.Reference(sram_64x4_contact_17, (0.4925,2.6625)))
c_sram_64x4_wordline_drive.add(gdstk.Reference(sram_64x4_contact_18, (0.4925,2.6625)))
c_sram_64x4_wordline_drive.add(gdstk.Reference(sram_64x4_contact_21, (0.49,2.66)))
c_sram_64x4_wordline_drive.add(gdstk.Reference(sram_64x4_contact_17, (0.4925,2.6625)))
c_sram_64x4_wordline_drive.add(gdstk.Reference(sram_64x4_contact_18, (0.4925,2.6625)))
c_sram_64x4_wordline_drive.add(gdstk.Reference(sram_64x4_contact_21, (0.49,2.66)))
c_sram_64x4_wordline_drive.add(gdstk.Reference(sram_64x4_contact_17, (0.4925,5.3925)))
c_sram_64x4_wordline_drive.add(gdstk.Reference(sram_64x4_contact_18, (0.4925,5.3925)))
c_sram_64x4_wordline_drive.add(gdstk.Reference(sram_64x4_contact_21, (0.49,5.39)))
c_sram_64x4_wordline_drive.add(gdstk.Reference(sram_64x4_contact_17, (0.4925,5.3925)))
c_sram_64x4_wordline_drive.add(gdstk.Reference(sram_64x4_contact_18, (0.4925,5.3925)))
c_sram_64x4_wordline_drive.add(gdstk.Reference(sram_64x4_contact_21, (0.49,5.39)))
c_sram_64x4_wordline_drive.add(gdstk.Reference(sram_64x4_contact_17, (0.4925,8.1225)))
c_sram_64x4_wordline_drive.add(gdstk.Reference(sram_64x4_contact_18, (0.4925,8.1225)))
c_sram_64x4_wordline_drive.add(gdstk.Reference(sram_64x4_contact_21, (0.49,8.12)))
c_sram_64x4_wordline_drive.add(gdstk.Reference(sram_64x4_contact_17, (0.4925,8.1225)))
c_sram_64x4_wordline_drive.add(gdstk.Reference(sram_64x4_contact_18, (0.4925,8.1225)))
c_sram_64x4_wordline_drive.add(gdstk.Reference(sram_64x4_contact_21, (0.49,8.12)))
c_sram_64x4_wordline_drive.add(gdstk.Reference(sram_64x4_contact_17, (0.4925,10.8525)))
c_sram_64x4_wordline_drive.add(gdstk.Reference(sram_64x4_contact_18, (0.4925,10.8525)))
c_sram_64x4_wordline_drive.add(gdstk.Reference(sram_64x4_contact_21, (0.49,10.85)))
c_sram_64x4_wordline_drive.add(gdstk.Reference(sram_64x4_contact_17, (0.4925,10.8525)))
c_sram_64x4_wordline_drive.add(gdstk.Reference(sram_64x4_contact_18, (0.4925,10.8525)))
c_sram_64x4_wordline_drive.add(gdstk.Reference(sram_64x4_contact_21, (0.49,10.85)))
c_sram_64x4_wordline_drive.add(gdstk.Reference(sram_64x4_contact_17, (0.4925,13.5825)))
c_sram_64x4_wordline_drive.add(gdstk.Reference(sram_64x4_contact_18, (0.4925,13.5825)))
c_sram_64x4_wordline_drive.add(gdstk.Reference(sram_64x4_contact_21, (0.49,13.58)))
c_sram_64x4_wordline_drive.add(gdstk.Reference(sram_64x4_contact_17, (0.4925,13.5825)))
c_sram_64x4_wordline_drive.add(gdstk.Reference(sram_64x4_contact_18, (0.4925,13.5825)))
c_sram_64x4_wordline_drive.add(gdstk.Reference(sram_64x4_contact_21, (0.49,13.58)))
c_sram_64x4_wordline_drive.add(gdstk.Reference(sram_64x4_contact_17, (0.4925,16.3125)))
c_sram_64x4_wordline_drive.add(gdstk.Reference(sram_64x4_contact_18, (0.4925,16.3125)))
c_sram_64x4_wordline_drive.add(gdstk.Reference(sram_64x4_contact_21, (0.49,16.31)))
c_sram_64x4_wordline_drive.add(gdstk.Reference(sram_64x4_contact_17, (0.4925,16.3125)))
c_sram_64x4_wordline_drive.add(gdstk.Reference(sram_64x4_contact_18, (0.4925,16.3125)))
c_sram_64x4_wordline_drive.add(gdstk.Reference(sram_64x4_contact_21, (0.49,16.31)))
c_sram_64x4_wordline_drive.add(gdstk.Reference(sram_64x4_contact_17, (0.4925,19.0425)))
c_sram_64x4_wordline_drive.add(gdstk.Reference(sram_64x4_contact_18, (0.4925,19.0425)))
c_sram_64x4_wordline_drive.add(gdstk.Reference(sram_64x4_contact_21, (0.49,19.04)))
c_sram_64x4_wordline_drive.add(gdstk.Reference(sram_64x4_contact_17, (0.4925,19.0425)))
c_sram_64x4_wordline_drive.add(gdstk.Reference(sram_64x4_contact_18, (0.4925,19.0425)))
c_sram_64x4_wordline_drive.add(gdstk.Reference(sram_64x4_contact_21, (0.49,19.04)))
c_sram_64x4_wordline_drive.add(gdstk.Reference(sram_64x4_contact_17, (0.4925,21.7725)))
c_sram_64x4_wordline_drive.add(gdstk.Reference(sram_64x4_contact_18, (0.4925,21.7725)))
c_sram_64x4_wordline_drive.add(gdstk.Reference(sram_64x4_contact_21, (0.49,21.77)))
c_sram_64x4_wordline_drive.add(gdstk.Label('en', (1.0075,10.92), layer=13, texttype=0))
c_sram_64x4_wordline_drive.add(gdstk.Label('in_0', (0.7925,0.4275), layer=11, texttype=0))
c_sram_64x4_wordline_drive.add(gdstk.Label('wl_0', (2.125,0.6225), layer=11, texttype=0))
c_sram_64x4_wordline_drive.add(gdstk.Label('in_1', (0.7925,2.3025), layer=11, texttype=0))
c_sram_64x4_wordline_drive.add(gdstk.Label('wl_1', (2.125,2.1075), layer=11, texttype=0))
c_sram_64x4_wordline_drive.add(gdstk.Label('in_2', (0.7925,3.1575), layer=11, texttype=0))
c_sram_64x4_wordline_drive.add(gdstk.Label('wl_2', (2.125,3.3525), layer=11, texttype=0))
c_sram_64x4_wordline_drive.add(gdstk.Label('in_3', (0.7925,5.0325), layer=11, texttype=0))
c_sram_64x4_wordline_drive.add(gdstk.Label('wl_3', (2.125,4.8375), layer=11, texttype=0))
c_sram_64x4_wordline_drive.add(gdstk.Label('in_4', (0.7925,5.8875), layer=11, texttype=0))
c_sram_64x4_wordline_drive.add(gdstk.Label('wl_4', (2.125,6.0825), layer=11, texttype=0))
c_sram_64x4_wordline_drive.add(gdstk.Label('in_5', (0.7925,7.7625), layer=11, texttype=0))
c_sram_64x4_wordline_drive.add(gdstk.Label('wl_5', (2.125,7.5675), layer=11, texttype=0))
c_sram_64x4_wordline_drive.add(gdstk.Label('in_6', (0.7925,8.6175), layer=11, texttype=0))
c_sram_64x4_wordline_drive.add(gdstk.Label('wl_6', (2.125,8.8125), layer=11, texttype=0))
c_sram_64x4_wordline_drive.add(gdstk.Label('in_7', (0.7925,10.4925), layer=11, texttype=0))
c_sram_64x4_wordline_drive.add(gdstk.Label('wl_7', (2.125,10.2975), layer=11, texttype=0))
c_sram_64x4_wordline_drive.add(gdstk.Label('in_8', (0.7925,11.3475), layer=11, texttype=0))
c_sram_64x4_wordline_drive.add(gdstk.Label('wl_8', (2.125,11.5425), layer=11, texttype=0))
c_sram_64x4_wordline_drive.add(gdstk.Label('in_9', (0.7925,13.2225), layer=11, texttype=0))
c_sram_64x4_wordline_drive.add(gdstk.Label('wl_9', (2.125,13.0275), layer=11, texttype=0))
c_sram_64x4_wordline_drive.add(gdstk.Label('in_10', (0.7925,14.0775), layer=11, texttype=0))
c_sram_64x4_wordline_drive.add(gdstk.Label('wl_10', (2.125,14.2725), layer=11, texttype=0))
c_sram_64x4_wordline_drive.add(gdstk.Label('in_11', (0.7925,15.9525), layer=11, texttype=0))
c_sram_64x4_wordline_drive.add(gdstk.Label('wl_11', (2.125,15.7575), layer=11, texttype=0))
c_sram_64x4_wordline_drive.add(gdstk.Label('in_12', (0.7925,16.8075), layer=11, texttype=0))
c_sram_64x4_wordline_drive.add(gdstk.Label('wl_12', (2.125,17.0025), layer=11, texttype=0))
c_sram_64x4_wordline_drive.add(gdstk.Label('in_13', (0.7925,18.6825), layer=11, texttype=0))
c_sram_64x4_wordline_drive.add(gdstk.Label('wl_13', (2.125,18.4875), layer=11, texttype=0))
c_sram_64x4_wordline_drive.add(gdstk.Label('in_14', (0.7925,19.5375), layer=11, texttype=0))
c_sram_64x4_wordline_drive.add(gdstk.Label('wl_14', (2.125,19.7325), layer=11, texttype=0))
c_sram_64x4_wordline_drive.add(gdstk.Label('in_15', (0.7925,21.4125), layer=11, texttype=0))
c_sram_64x4_wordline_drive.add(gdstk.Label('wl_15', (2.125,21.2175), layer=11, texttype=0))
c_sram_64x4_wordline_drive.add(gdstk.Label('vdd', (2.7,10.92), layer=17, texttype=0))
c_sram_64x4_wordline_drive.add(gdstk.Label('gnd', (0.56,10.92), layer=17, texttype=0))

lib.write_gds('sram_64x4_wordline_driver_array.gds')
